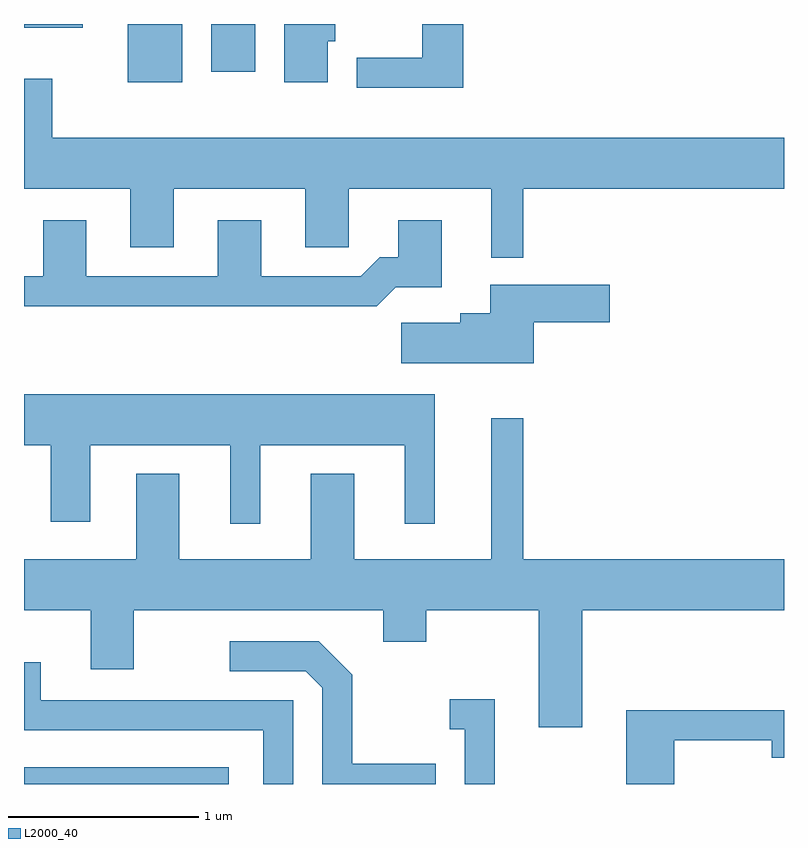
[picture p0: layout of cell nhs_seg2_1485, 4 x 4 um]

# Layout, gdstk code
import gdstk
lib = gdstk.Library(unit=1e-6, precision=1e-09)
def R(c, l, rs):  # rectangles x0, y0, x1, y1
    for r in rs: c.add(gdstk.rectangle(r[:2], r[2:], *l))
def P(c, l, *ps):  # polygons
    for p in ps: c.add(gdstk.Polygon(p, *l))
L2000_40 = (2000, 40)

nhs_seg2_1485 = lib.new_cell('nhs_seg2_1485')
R(nhs_seg2_1485, L2000_40, [(227.611,1091.802,228.689,1091.889), (228.156,1095.496,228.444,1095.802), (228.596,1095.551,228.829,1095.802), (227.611,1095.781,227.919,1095.802)])
P(nhs_seg2_1485, L2000_40, [(229.924,1095.802),(229.706,1095.802),(229.706,1095.624),(229.363,1095.624),(229.363,1095.466),(229.924,1095.466)],
  [(229.209,1095.711),(229.249,1095.711),(229.249,1095.802),(228.981,1095.802),(228.981,1095.496),(229.209,1095.496)],
  [(230.239,1094.936),(231.611,1094.936),(231.611,1095.204),(227.759,1095.204),(227.759,1095.514),(227.611,1095.514),(227.611,1094.936),(228.171,1094.936),(228.171,1094.626),(228.399,1094.626),(228.399,1094.936),(229.091,1094.936),(229.091,1094.626),(229.319,1094.626),(229.319,1094.936),(230.071,1094.936),(230.071,1094.573),(230.239,1094.573)],
  [(229.567,1094.416),(229.809,1094.416),(229.809,1094.769),(229.581,1094.769),(229.581,1094.574),(229.484,1094.574),(229.384,1094.474),(228.859,1094.474),(228.859,1094.769),(228.631,1094.769),(228.631,1094.474),(227.939,1094.474),(227.939,1094.769),(227.711,1094.769),(227.711,1094.474),(227.611,1094.474),(227.611,1094.316),(229.467,1094.316)],
  [(230.294,1094.231),(230.694,1094.231),(230.694,1094.429),(230.066,1094.429),(230.066,1094.279),(229.906,1094.279),(229.906,1094.229),(229.596,1094.229),(229.596,1094.016),(230.294,1094.016)],
  [(228.854,1093.586),(229.616,1093.586),(229.616,1093.173),(229.774,1093.173),(229.774,1093.854),(227.611,1093.854),(227.611,1093.586),(227.751,1093.586),(227.751,1093.181),(227.959,1093.181),(227.959,1093.586),(228.696,1093.586),(228.696,1093.173),(228.854,1093.173)],
  [(230.549,1092.716),(231.611,1092.716),(231.611,1092.984),(230.239,1092.984),(230.239,1093.728),(230.071,1093.728),(230.071,1092.984),(229.349,1092.984),(229.349,1093.434),(229.121,1093.434),(229.121,1092.984),(228.429,1092.984),(228.429,1093.434),(228.201,1093.434),(228.201,1092.984),(227.611,1092.984),(227.611,1092.716),(227.961,1092.716),(227.961,1092.406),(228.189,1092.406),(228.189,1092.716),(229.501,1092.716),(229.501,1092.551),(229.729,1092.551),(229.729,1092.716),(230.321,1092.716),(230.321,1092.101),(230.549,1092.101)],
  [(229.779,1091.909),(229.339,1091.909),(229.339,1092.377),(229.162,1092.554),(228.693,1092.554),(228.693,1092.396),(229.094,1092.396),(229.181,1092.309),(229.181,1091.802),(229.779,1091.802)],
  [(229.029,1092.244),(227.699,1092.244),(227.699,1092.443),(227.611,1092.443),(227.611,1092.086),(228.871,1092.086),(228.871,1091.802),(229.029,1091.802)],
  [(230.089,1092.249),(229.853,1092.249),(229.853,1092.091),(229.931,1092.091),(229.931,1091.802),(230.089,1091.802)],
  [(231.034,1092.031),(231.546,1092.031),(231.546,1091.941),(231.611,1091.941),(231.611,1092.189),(230.781,1092.189),(230.781,1091.802),(231.034,1091.802)])

lib.write_gds('nhs_seg2_1485.gds')
